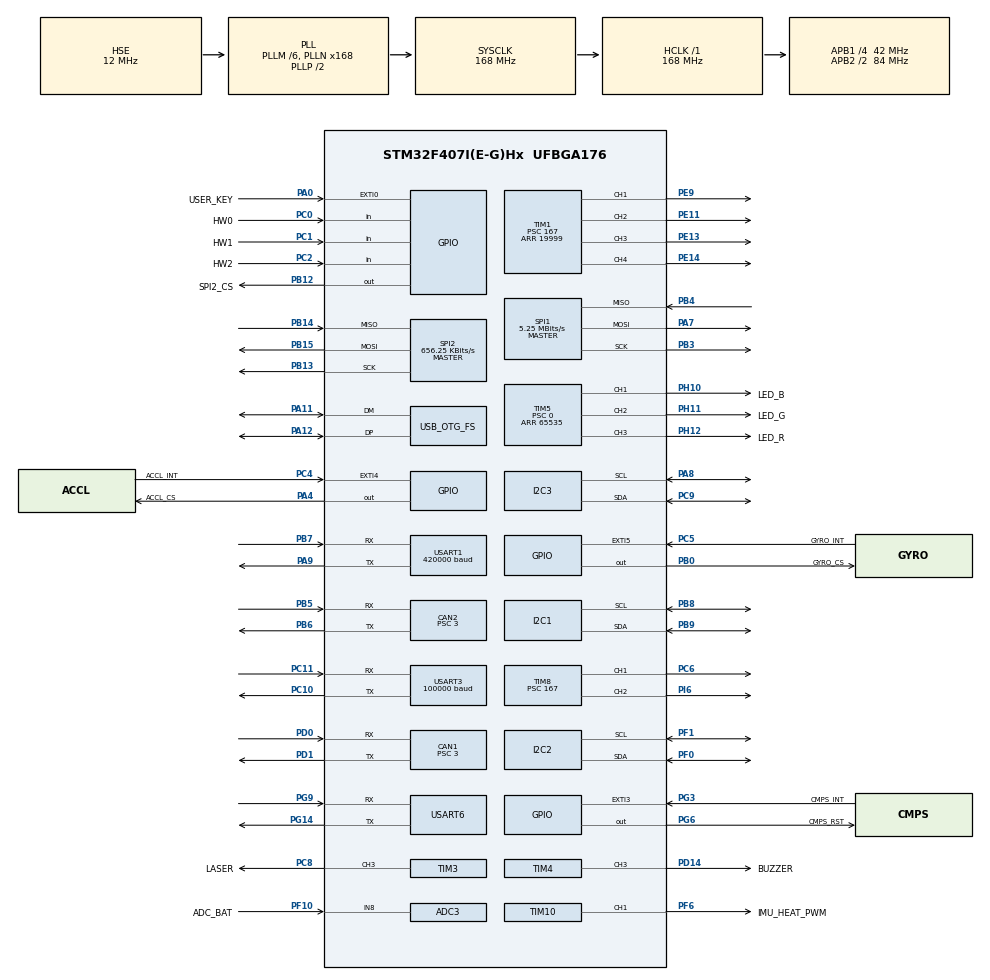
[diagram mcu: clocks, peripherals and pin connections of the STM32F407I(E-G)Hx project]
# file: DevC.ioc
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ADC1.Channel-0\#ChannelRegularConversion=ADC_CHANNEL_TEMPSENSOR
ADC1.ClockPrescaler=ADC_CLOCK_SYNC_PCLK_DIV6
ADC1.NbrOfConversionFlag=1
ADC1.Rank-0\#ChannelRegularConversion=1
ADC1.SamplingTime-0\#ChannelRegularConversion=ADC_SAMPLETIME_3CYCLES
ADC1.master=1
ADC3.Channel-0\#ChannelRegularConversion=ADC_CHANNEL_8
ADC3.ClockPrescaler=ADC_CLOCK_SYNC_PCLK_DIV6
ADC3.NbrOfConversionFlag=1
ADC3.Rank-0\#ChannelRegularConversion=1
ADC3.SamplingTime-0\#ChannelRegularConversion=ADC_SAMPLETIME_3CYCLES
CAN1.ABOM=DISABLE
CAN1.BS1=CAN_BS1_6TQ
CAN1.BS2=CAN_BS2_7TQ
CAN1.CalculateBaudRate=1000000
CAN1.CalculateTimeBit=1000
CAN1.CalculateTimeQuantum=71.42857142857143
CAN1.Prescaler=3
CAN1.TXFP=ENABLE
CAN2.BS1=CAN_BS1_6TQ
CAN2.BS2=CAN_BS2_7TQ
CAN2.CalculateBaudRate=1000000
CAN2.CalculateTimeBit=1000
CAN2.CalculateTimeQuantum=71.42857142857143
CAN2.Prescaler=3
CAN2.TXFP=ENABLE
Dma.I2C2_TX.2.Direction=DMA_MEMORY_TO_PERIPH
Dma.I2C2_TX.2.FIFOMode=DMA_FIFOMODE_DISABLE
Dma.I2C2_TX.2.Instance=DMA1_Stream7
Dma.I2C2_TX.2.MemDataAlignment=DMA_MDATAALIGN_BYTE
Dma.I2C2_TX.2.MemInc=DMA_MINC_ENABLE
Dma.I2C2_TX.2.Mode=DMA_NORMAL
Dma.I2C2_TX.2.PeriphDataAlignment=DMA_PDATAALIGN_BYTE
Dma.I2C2_TX.2.PeriphInc=DMA_PINC_DISABLE
Dma.I2C2_TX.2.Priority=DMA_PRIORITY_HIGH
Dma.I2C3_RX.7.Direction=DMA_PERIPH_TO_MEMORY
Dma.I2C3_RX.7.FIFOMode=DMA_FIFOMODE_DISABLE
Dma.I2C3_RX.7.Instance=DMA1_Stream2
Dma.I2C3_RX.7.MemDataAlignment=DMA_MDATAALIGN_BYTE
Dma.I2C3_RX.7.MemInc=DMA_MINC_ENABLE
Dma.I2C3_RX.7.Mode=DMA_NORMAL
Dma.I2C3_RX.7.PeriphDataAlignment=DMA_PDATAALIGN_BYTE
Dma.I2C3_RX.7.PeriphInc=DMA_PINC_DISABLE
Dma.I2C3_RX.7.Priority=DMA_PRIORITY_LOW
Dma.Request0=SPI1_RX
Dma.Request1=SPI1_TX
Dma.Request2=I2C2_TX
Dma.Request3=USART3_RX
Dma.Request4=USART6_RX
Dma.Request5=USART6_TX
Dma.Request6=USART1_TX
Dma.Request7=I2C3_RX
Dma.Request8=USART1_RX
Dma.SPI1_RX.0.Direction=DMA_PERIPH_TO_MEMORY
Dma.SPI1_RX.0.FIFOMode=DMA_FIFOMODE_DISABLE
Dma.SPI1_RX.0.Instance=DMA2_Stream2
Dma.SPI1_RX.0.MemDataAlignment=DMA_MDATAALIGN_BYTE
Dma.SPI1_RX.0.MemInc=DMA_MINC_ENABLE
Dma.SPI1_RX.0.Mode=DMA_NORMAL
Dma.SPI1_RX.0.PeriphDataAlignment=DMA_PDATAALIGN_BYTE
Dma.SPI1_RX.0.PeriphInc=DMA_PINC_DISABLE
Dma.SPI1_RX.0.Priority=DMA_PRIORITY_VERY_HIGH
Dma.SPI1_TX.1.Direction=DMA_MEMORY_TO_PERIPH
Dma.SPI1_TX.1.FIFOMode=DMA_FIFOMODE_DISABLE
Dma.SPI1_TX.1.Instance=DMA2_Stream3
Dma.SPI1_TX.1.MemDataAlignment=DMA_MDATAALIGN_BYTE
Dma.SPI1_TX.1.MemInc=DMA_MINC_ENABLE
Dma.SPI1_TX.1.Mode=DMA_NORMAL
Dma.SPI1_TX.1.PeriphDataAlignment=DMA_PDATAALIGN_BYTE
Dma.SPI1_TX.1.PeriphInc=DMA_PINC_DISABLE
Dma.SPI1_TX.1.Priority=DMA_PRIORITY_HIGH
Dma.USART1_RX.8.Direction=DMA_PERIPH_TO_MEMORY
Dma.USART1_RX.8.FIFOMode=DMA_FIFOMODE_DISABLE
Dma.USART1_RX.8.Instance=DMA2_Stream5
Dma.USART1_RX.8.MemDataAlignment=DMA_MDATAALIGN_BYTE
Dma.USART1_RX.8.MemInc=DMA_MINC_ENABLE
Dma.USART1_RX.8.Mode=DMA_NORMAL
Dma.USART1_RX.8.PeriphDataAlignment=DMA_PDATAALIGN_BYTE
Dma.USART1_RX.8.PeriphInc=DMA_PINC_DISABLE
Dma.USART1_RX.8.Priority=DMA_PRIORITY_MEDIUM
Dma.USART1_TX.6.Direction=DMA_MEMORY_TO_PERIPH
Dma.USART1_TX.6.FIFOMode=DMA_FIFOMODE_DISABLE
Dma.USART1_TX.6.Instance=DMA2_Stream7
Dma.USART1_TX.6.MemDataAlignment=DMA_MDATAALIGN_BYTE
Dma.USART1_TX.6.MemInc=DMA_MINC_ENABLE
Dma.USART1_TX.6.Mode=DMA_NORMAL
Dma.USART1_TX.6.PeriphDataAlignment=DMA_PDATAALIGN_BYTE
Dma.USART1_TX.6.PeriphInc=DMA_PINC_DISABLE
Dma.USART1_TX.6.Priority=DMA_PRIORITY_MEDIUM
Dma.USART3_RX.3.Direction=DMA_PERIPH_TO_MEMORY
Dma.USART3_RX.3.FIFOMode=DMA_FIFOMODE_DISABLE
Dma.USART3_RX.3.Instance=DMA1_Stream1
Dma.USART3_RX.3.MemDataAlignment=DMA_MDATAALIGN_BYTE
Dma.USART3_RX.3.MemInc=DMA_MINC_ENABLE
Dma.USART3_RX.3.Mode=DMA_NORMAL
Dma.USART3_RX.3.PeriphDataAlignment=DMA_PDATAALIGN_BYTE
Dma.USART3_RX.3.PeriphInc=DMA_PINC_DISABLE
Dma.USART3_RX.3.Priority=DMA_PRIORITY_HIGH
Dma.USART6_RX.4.Direction=DMA_PERIPH_TO_MEMORY
Dma.USART6_RX.4.FIFOMode=DMA_FIFOMODE_DISABLE
Dma.USART6_RX.4.Instance=DMA2_Stream1
Dma.USART6_RX.4.MemDataAlignment=DMA_MDATAALIGN_BYTE
Dma.USART6_RX.4.MemInc=DMA_MINC_ENABLE
Dma.USART6_RX.4.Mode=DMA_NORMAL
Dma.USART6_RX.4.PeriphDataAlignment=DMA_PDATAALIGN_BYTE
Dma.USART6_RX.4.PeriphInc=DMA_PINC_DISABLE
Dma.USART6_RX.4.Priority=DMA_PRIORITY_MEDIUM
Dma.USART6_TX.5.Direction=DMA_MEMORY_TO_PERIPH
Dma.USART6_TX.5.FIFOMode=DMA_FIFOMODE_DISABLE
Dma.USART6_TX.5.Instance=DMA2_Stream6
Dma.USART6_TX.5.MemDataAlignment=DMA_MDATAALIGN_BYTE
Dma.USART6_TX.5.MemInc=DMA_MINC_ENABLE
Dma.USART6_TX.5.Mode=DMA_NORMAL
Dma.USART6_TX.5.PeriphDataAlignment=DMA_PDATAALIGN_BYTE
Dma.USART6_TX.5.PeriphInc=DMA_PINC_DISABLE
Dma.USART6_TX.5.Priority=DMA_PRIORITY_MEDIUM
FREERTOS.INCLUDE_pcTaskGetTaskName=1
FREERTOS.INCLUDE_uxTaskGetStackHighWaterMark2=1
FREERTOS.INCLUDE_vTaskCleanUpResources=1
FREERTOS.INCLUDE_xEventGroupSetBitFromISR=1
FREERTOS.INCLUDE_xSemaphoreGetMutexHolder=1
FREERTOS.INCLUDE_xTaskAbortDelay=1
FREERTOS.INCLUDE_xTaskGetCurrentTaskHandle=1
FREERTOS.INCLUDE_xTaskGetHandle=1
FREERTOS.Tasks01=defaultTask,24,128,StartDefaultTask,Default,NULL,Dynamic,NULL,NULL
FREERTOS.configCHECK_FOR_STACK_OVERFLOW=2
FREERTOS.configENABLE_BACKWARD_COMPATIBILITY=0
FREERTOS.configENABLE_FPU=1
FREERTOS.configGENERATE_RUN_TIME_STATS=1
FREERTOS.configRECORD_STACK_HIGH_ADDRESS=1
FREERTOS.configTOTAL_HEAP_SIZE=0x6000
FREERTOS.configUSE_STATS_FORMATTING_FUNCTIONS=1
I2C1.I2C_Mode=I2C_Fast
I2C2.I2C_Mode=I2C_Fast
I2C3.I2C_Mode=I2C_Fast
Mcu.Family=STM32F4
Mcu.Name=STM32F407I(E-G)Hx
Mcu.Package=UFBGA176
NVIC.CAN1_RX0_IRQn=true\:5\:0\:true\:false\:true\:true\:true\:true\:true
NVIC.CAN1_RX1_IRQn=true\:5\:0\:false\:false\:true\:true\:true\:true\:true
NVIC.CAN2_RX0_IRQn=true\:5\:0\:true\:false\:true\:true\:true\:true\:true
NVIC.CAN2_RX1_IRQn=true\:5\:0\:false\:false\:true\:true\:true\:true\:true
NVIC.DMA1_Stream1_IRQn=true\:5\:0\:true\:false\:true\:true\:false\:true\:true
NVIC.DMA1_Stream2_IRQn=true\:5\:0\:false\:false\:true\:true\:false\:true\:true
NVIC.DMA1_Stream7_IRQn=true\:5\:0\:true\:false\:true\:true\:false\:true\:true
NVIC.DMA2_Stream1_IRQn=true\:5\:0\:true\:false\:true\:true\:false\:true\:true
NVIC.DMA2_Stream2_IRQn=true\:5\:0\:true\:false\:true\:true\:false\:true\:true
NVIC.DMA2_Stream3_IRQn=true\:5\:0\:true\:false\:true\:true\:false\:true\:true
NVIC.DMA2_Stream5_IRQn=true\:5\:0\:false\:false\:true\:true\:false\:true\:true
NVIC.DMA2_Stream6_IRQn=true\:5\:0\:true\:false\:true\:true\:false\:true\:true
NVIC.DMA2_Stream7_IRQn=true\:5\:0\:true\:false\:true\:true\:false\:true\:true
NVIC.EXTI0_IRQn=true\:5\:0\:true\:false\:true\:true\:true\:true\:true
NVIC.EXTI3_IRQn=true\:5\:0\:true\:false\:true\:true\:true\:true\:true
NVIC.EXTI4_IRQn=true\:5\:0\:true\:false\:true\:true\:true\:true\:true
NVIC.EXTI9_5_IRQn=true\:5\:0\:true\:false\:true\:true\:true\:true\:true
NVIC.OTG_FS_IRQn=true\:5\:0\:false\:false\:true\:true\:false\:true\:true
NVIC.PriorityGroup=NVIC_PRIORITYGROUP_4
NVIC.TIM1_BRK_TIM9_IRQn=true\:5\:0\:false\:false\:true\:false\:false\:true\:true
NVIC.TIM7_IRQn=true\:5\:0\:false\:false\:true\:true\:true\:true\:true
NVIC.USART1_IRQn=true\:5\:0\:false\:false\:true\:true\:true\:true\:true
NVIC.USART6_IRQn=true\:5\:0\:false\:false\:true\:true\:true\:true\:true
PA0-WKUP.GPIO_Label=USER_KEY
PA0-WKUP.GPIO_ModeDefaultEXTI=GPIO_MODE_IT_FALLING
PA0-WKUP.GPIO_PuPd=GPIO_PULLUP
PA0-WKUP.Signal=GPXTI0
PA11.Mode=Device_Only
PA11.Signal=USB_OTG_FS_DM
PA12.Mode=Device_Only
PA12.Signal=USB_OTG_FS_DP
PA13.Mode=Serial_Wire
PA13.Signal=SYS_JTMS-SWDIO
PA14.Mode=Serial_Wire
PA14.Signal=SYS_JTCK-SWCLK
PA4.GPIO_Label=ACCL_CS
PA4.GPIO_PuPd=GPIO_PULLUP
PA4.GPIO_Speed=GPIO_SPEED_FREQ_MEDIUM
PA4.PinState=GPIO_PIN_SET
PA4.Signal=GPIO_Output
PA7.GPIO_PuPd=GPIO_PULLUP
PA7.Mode=Full_Duplex_Master
PA7.Signal=SPI1_MOSI
PA8.Mode=I2C
PA8.Signal=I2C3_SCL
PA9.Mode=Asynchronous
PA9.Signal=USART1_TX
PB0.GPIO_Label=GYRO_CS
PB0.GPIO_PuPd=GPIO_PULLUP
PB0.GPIO_Speed=GPIO_SPEED_FREQ_MEDIUM
PB0.PinState=GPIO_PIN_SET
PB0.Signal=GPIO_Output
PB12.GPIO_Label=SPI2_CS
PB12.GPIO_PuPd=GPIO_PULLUP
PB12.GPIO_Speed=GPIO_SPEED_FREQ_MEDIUM
PB12.PinState=GPIO_PIN_SET
PB12.Signal=GPIO_Output
PB13.GPIO_PuPd=GPIO_PULLUP
PB13.Mode=Full_Duplex_Master
PB13.Signal=SPI2_SCK
PB14.GPIO_PuPd=GPIO_PULLUP
PB14.Mode=Full_Duplex_Master
PB14.Signal=SPI2_MISO
PB15.GPIO_PuPd=GPIO_PULLUP
PB15.Mode=Full_Duplex_Master
PB15.Signal=SPI2_MOSI
PB3.GPIO_PuPd=GPIO_PULLUP
PB3.Mode=Full_Duplex_Master
PB3.Signal=SPI1_SCK
PB4.GPIO_PuPd=GPIO_PULLUP
PB4.Mode=Full_Duplex_Master
PB4.Signal=SPI1_MISO
PB5.Mode=CAN_Activate
PB5.Signal=CAN2_RX
PB6.Mode=CAN_Activate
PB6.Signal=CAN2_TX
PB7.Mode=Asynchronous
PB7.Signal=USART1_RX
PB8.Mode=I2C
PB8.Signal=I2C1_SCL
PB9.Mode=I2C
PB9.Signal=I2C1_SDA
PC0.GPIO_Label=HW0
PC0.Signal=GPIO_Input
PC1.GPIO_Label=HW1
PC1.Signal=GPIO_Input
PC10.Mode=Asynchronous
PC10.Signal=USART3_TX
PC11.Mode=Asynchronous
PC11.Signal=USART3_RX
PC2.GPIO_Label=HW2
PC2.Signal=GPIO_Input
PC4.GPIO_Label=ACCL_INT
PC4.GPIO_ModeDefaultEXTI=GPIO_MODE_IT_FALLING
PC4.GPIO_PuPd=GPIO_PULLUP
PC4.Signal=GPXTI4
PC5.GPIO_Label=GYRO_INT
PC5.GPIO_ModeDefaultEXTI=GPIO_MODE_IT_FALLING
PC5.GPIO_PuPd=GPIO_PULLUP
PC5.Signal=GPXTI5
PC6.GPIO_PuPd=GPIO_PULLUP
PC6.GPIO_Speed=GPIO_SPEED_FREQ_HIGH
PC6.Signal=S_TIM8_CH1
PC8.GPIO_Label=LASER
PC8.GPIO_PuPd=GPIO_PULLUP
PC8.GPIO_Speed=GPIO_SPEED_FREQ_HIGH
PC8.Signal=S_TIM3_CH3
PC9.Mode=I2C
PC9.Signal=I2C3_SDA
PD0.Mode=CAN_Activate
PD0.Signal=CAN1_RX
PD1.Mode=CAN_Activate
PD1.Signal=CAN1_TX
PD14.GPIO_Label=BUZZER
PD14.GPIO_PuPd=GPIO_PULLUP
PD14.GPIO_Speed=GPIO_SPEED_FREQ_VERY_HIGH
PD14.Signal=S_TIM4_CH3
PE11.GPIO_PuPd=GPIO_PULLUP
PE11.GPIO_Speed=GPIO_SPEED_FREQ_HIGH
PE11.Signal=S_TIM1_CH2
PE13.GPIO_PuPd=GPIO_PULLUP
PE13.GPIO_Speed=GPIO_SPEED_FREQ_HIGH
PE13.Signal=S_TIM1_CH3
PE14.GPIO_PuPd=GPIO_PULLUP
PE14.GPIO_Speed=GPIO_SPEED_FREQ_HIGH
PE14.Signal=S_TIM1_CH4
PE9.GPIO_PuPd=GPIO_PULLUP
PE9.GPIO_Speed=GPIO_SPEED_FREQ_HIGH
PE9.Signal=S_TIM1_CH1
PF0.Mode=I2C
PF0.Signal=I2C2_SDA
PF1.Mode=I2C
PF1.Signal=I2C2_SCL
PF10.GPIO_Label=ADC_BAT
PF10.Mode=IN8
PF10.Signal=ADC3_IN8
PF6.GPIO_Label=IMU_HEAT_PWM
PF6.GPIO_PuPd=GPIO_PULLDOWN
PF6.GPIO_Speed=GPIO_SPEED_FREQ_HIGH
PF6.Signal=S_TIM10_CH1
PG14.Mode=Asynchronous
PG14.Signal=USART6_TX
PG3.GPIO_Label=CMPS_INT
PG3.GPIO_ModeDefaultEXTI=GPIO_MODE_IT_FALLING
PG3.GPIO_PuPd=GPIO_PULLUP
PG3.Signal=GPXTI3
PG6.GPIO_Label=CMPS_RST
PG6.GPIO_PuPd=GPIO_PULLUP
PG6.GPIO_Speed=GPIO_SPEED_FREQ_MEDIUM
PG6.PinState=GPIO_PIN_RESET
PG6.Signal=GPIO_Output
PG9.Mode=Asynchronous
PG9.Signal=USART6_RX
PH0-OSC_IN.Mode=HSE-External-Oscillator
PH0-OSC_IN.Signal=RCC_OSC_IN
PH1-OSC_OUT.Mode=HSE-External-Oscillator
PH1-OSC_OUT.Signal=RCC_OSC_OUT
PH10.GPIO_Label=LED_B
PH10.GPIO_PuPd=GPIO_PULLUP
PH10.GPIO_Speed=GPIO_SPEED_FREQ_HIGH
PH10.Signal=S_TIM5_CH1
PH11.GPIO_Label=LED_G
PH11.GPIO_PuPd=GPIO_PULLUP
PH11.GPIO_Speed=GPIO_SPEED_FREQ_HIGH
PH11.Signal=S_TIM5_CH2
PH12.GPIO_Label=LED_R
PH12.GPIO_PuPd=GPIO_PULLUP
PH12.GPIO_Speed=GPIO_SPEED_FREQ_HIGH
PH12.Signal=S_TIM5_CH3
PI6.GPIO_PuPd=GPIO_PULLUP
PI6.GPIO_Speed=GPIO_SPEED_FREQ_HIGH
PI6.Signal=S_TIM8_CH2
ProjectManager.HeapSize=0x1000
ProjectManager.StackSize=0x1000
ProjectManager.TargetToolchain=CMake
RCC.48MHZClocksFreq_Value=48000000
RCC.AHBFreq_Value=168000000
RCC.APB1CLKDivider=RCC_HCLK_DIV4
RCC.APB1Freq_Value=42000000
RCC.APB1TimFreq_Value=84000000
RCC.APB2CLKDivider=RCC_HCLK_DIV2
RCC.APB2Freq_Value=84000000
RCC.APB2TimFreq_Value=168000000
RCC.CortexFreq_Value=168000000
RCC.HCLKFreq_Value=168000000
RCC.HSE_VALUE=12000000
RCC.HSI_VALUE=16000000
RCC.LSE_VALUE=32768
RCC.PLLM=6
RCC.PLLN=168
RCC.PLLQ=7
RCC.RCC_RTC_Clock_Source=RCC_RTCCLKSOURCE_LSI
RCC.RCC_RTC_Clock_SourceVirtual=RCC_RTCCLKSOURCE_HSE_DIV30
RCC.RCC_RTC_Clock_Source_FROM_HSE=RCC_RTCCLKSOURCE_HSE_DIV30
RCC.SYSCLKFreq_VALUE=168000000
RCC.SYSCLKSource=RCC_SYSCLKSOURCE_PLLCLK
RCC.VCOOutputFreq_Value=336000000
SH.S_TIM10_CH1.0=TIM10_CH1,PWM Generation1 CH1
SH.S_TIM1_CH1.0=TIM1_CH1,PWM Generation1 CH1
SH.S_TIM1_CH2.0=TIM1_CH2,PWM Generation2 CH2
SH.S_TIM1_CH3.0=TIM1_CH3,PWM Generation3 CH3
SH.S_TIM1_CH4.0=TIM1_CH4,PWM Generation4 CH4
SH.S_TIM3_CH3.0=TIM3_CH3,PWM Generation3 CH3
SH.S_TIM4_CH3.0=TIM4_CH3,PWM Generation3 CH3
SH.S_TIM5_CH1.0=TIM5_CH1,PWM Generation1 CH1
SH.S_TIM5_CH2.0=TIM5_CH2,PWM Generation2 CH2
SH.S_TIM5_CH3.0=TIM5_CH3,PWM Generation3 CH3
SH.S_TIM8_CH1.0=TIM8_CH1,PWM Generation1 CH1
SH.S_TIM8_CH2.0=TIM8_CH2,PWM Generation2 CH2
SPI1.BaudRatePrescaler=SPI_BAUDRATEPRESCALER_16
SPI1.CLKPhase=SPI_PHASE_2EDGE
SPI1.CLKPolarity=SPI_POLARITY_HIGH
SPI1.CalculateBaudRate=5.25 MBits/s
SPI1.Direction=SPI_DIRECTION_2LINES
SPI1.Mode=SPI_MODE_MASTER
SPI1.VirtualType=VM_MASTER
SPI2.BaudRatePrescaler=SPI_BAUDRATEPRESCALER_64
SPI2.CLKPhase=SPI_PHASE_1EDGE
SPI2.CLKPolarity=SPI_POLARITY_LOW
SPI2.CalculateBaudRate=656.25 KBits/s
SPI2.Direction=SPI_DIRECTION_2LINES
SPI2.Mode=SPI_MODE_MASTER
SPI2.VirtualType=VM_MASTER
TIM1.Channel-PWM\ Generation1\ CH1=TIM_CHANNEL_1
TIM1.Channel-PWM\ Generation2\ CH2=TIM_CHANNEL_2
TIM1.Channel-PWM\ Generation3\ CH3=TIM_CHANNEL_3
TIM1.Channel-PWM\ Generation4\ CH4=TIM_CHANNEL_4
TIM1.Period=19999
TIM1.Prescaler=167
TIM1.Pulse-PWM\ Generation1\ CH1=0
TIM1.Pulse-PWM\ Generation2\ CH2=0
TIM1.Pulse-PWM\ Generation3\ CH3=0
TIM1.Pulse-PWM\ Generation4\ CH4=1000
TIM10.Channel=TIM_CHANNEL_1
TIM10.Period=4999
TIM3.Channel-PWM\ Generation3\ CH3=TIM_CHANNEL_3
TIM3.Period=65535
TIM4.Channel-PWM\ Generation3\ CH3=TIM_CHANNEL_3
TIM4.Period=65535
TIM4.Prescaler=167
TIM5.Channel-PWM\ Generation1\ CH1=TIM_CHANNEL_1
TIM5.Channel-PWM\ Generation2\ CH2=TIM_CHANNEL_2
TIM5.Channel-PWM\ Generation3\ CH3=TIM_CHANNEL_3
TIM5.Period=65535
TIM5.Prescaler=0
TIM7.Period=9
TIM7.Prescaler=83
TIM8.Channel-PWM\ Generation1\ CH1=TIM_CHANNEL_1
TIM8.Channel-PWM\ Generation2\ CH2=TIM_CHANNEL_2
TIM8.Period=19999
TIM8.Prescaler=167
TIM8.Pulse-PWM\ Generation1\ CH1=1000
TIM8.Pulse-PWM\ Generation2\ CH2=1000
USART1.BaudRate=420000
USART1.VirtualMode=VM_ASYNC
USART3.BaudRate=100000
USART3.Mode=MODE_RX
USART3.Parity=PARITY_EVEN
USART3.VirtualMode=VM_ASYNC
USART6.VirtualMode=VM_ASYNC
USB_DEVICE.APP_TX_DATA_SIZE-CDC_FS=8
USB_DEVICE.CLASS_NAME_FS=CDC
USB_DEVICE.MANUFACTURER_STRING-CDC_FS=QDU RM
USB_DEVICE.PID_CDC_FS=8888
USB_DEVICE.PRODUCT_STRING_CDC_FS=QDU RM MCU CLI
USB_DEVICE.VID-CDC_FS=0xFFFC
USB_DEVICE.VirtualMode-CDC_FS=Cdc
USB_DEVICE.VirtualModeFS=Cdc_FS
USB_OTG_FS.VirtualMode=Device_Only
VP_ADC1_TempSens_Input.Mode=IN-TempSens
VP_ADC1_Vref_Input.Mode=IN-Vrefint
VP_CRC_VS_CRC.Mode=CRC_Activate
VP_FREERTOS_VS_CMSIS_V2.Mode=CMSIS_V2
VP_RNG_VS_RNG.Mode=RNG_Activate
VP_TIM10_VS_ClockSourceINT.Mode=Enable_Timer
VP_TIM1_VS_ClockSourceINT.Mode=Internal
VP_TIM3_VS_ClockSourceINT.Mode=Internal
VP_TIM4_VS_ClockSourceINT.Mode=Internal
VP_TIM5_VS_ClockSourceINT.Mode=Internal
VP_TIM7_VS_ClockSourceINT.Mode=Enable_Timer
VP_TIM8_VS_ClockSourceINT.Mode=Internal
VP_USB_DEVICE_VS_USB_DEVICE_CDC_FS.Mode=CDC_FS
board=custom

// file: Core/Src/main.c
/* USER CODE BEGIN Header */
/**
  ******************************************************************************
  * @file           : main.c
  * @brief          : Main program body
  ******************************************************************************
  * @attention
  *
  * <h2><center>&copy; Copyright (c) 2020 STMicroelectronics.
  * All rights reserved.</center></h2>
  *
  * This software component is licensed by ST under Ultimate Liberty license
  * SLA0044, the "License"; You may not use this file except in compliance with
  * the License. You may obtain a copy of the License at:
  *                             www.st.com/SLA0044
  *
  ******************************************************************************
  */
/* USER CODE END Header */
#include "main.h"
#include "cmsis_os.h"
#include "adc.h"
#include "can.h"
#include "crc.h"
#include "dma.h"
#include "i2c.h"
#include "rng.h"
#include "spi.h"
#include "tim.h"
#include "usart.h"
#include "usb_device.h"
#include "gpio.h"

void SystemClock_Config(void);
void MX_FREERTOS_Init(void);

int main(void)
{

  /* MCU Configuration--------------------------------------------------------*/

  /* Reset of all peripherals, Initializes the Flash interface and the Systick. */
  HAL_Init();

  /* Configure the system clock */
  SystemClock_Config();

  /* Initialize all configured peripherals */
  MX_GPIO_Init();
  MX_DMA_Init();
  MX_ADC1_Init();
  MX_ADC3_Init();
  MX_CAN1_Init();
  MX_CAN2_Init();
  MX_I2C1_Init();
  MX_SPI1_Init();
  MX_TIM4_Init();
  MX_TIM5_Init();
  MX_USART3_UART_Init();
  MX_TIM8_Init();
  MX_CRC_Init();
  MX_RNG_Init();
  MX_I2C2_Init();
  MX_I2C3_Init();
  MX_SPI2_Init();
  MX_TIM1_Init();
  MX_TIM3_Init();
  MX_TIM10_Init();
  MX_USART1_UART_Init();
  MX_USART6_UART_Init();
  MX_TIM7_Init();

  /* Init scheduler */
  osKernelInitialize();  /* Call init function for freertos objects (in freertos.c) */
  MX_FREERTOS_Init();
  /* Start scheduler */
  osKernelStart();

  /* We should never get here as control is now taken by the scheduler */
  /* Infinite loop */
  while (1)
  {

  }
}

void SystemClock_Config(void)
{
  RCC_OscInitTypeDef RCC_OscInitStruct = {0};
  RCC_ClkInitTypeDef RCC_ClkInitStruct = {0};

  /** Configure the main internal regulator output voltage
  */
  __HAL_RCC_PWR_CLK_ENABLE();
  __HAL_PWR_VOLTAGESCALING_CONFIG(PWR_REGULATOR_VOLTAGE_SCALE1);
  /** Initializes the RCC Oscillators according to the specified parameters
  * in the RCC_OscInitTypeDef structure.
  */
  RCC_OscInitStruct.OscillatorType = RCC_OSCILLATORTYPE_HSE;
  RCC_OscInitStruct.HSEState = RCC_HSE_ON;
  RCC_OscInitStruct.PLL.PLLState = RCC_PLL_ON;
  RCC_OscInitStruct.PLL.PLLSource = RCC_PLLSOURCE_HSE;
  RCC_OscInitStruct.PLL.PLLM = 6;
  RCC_OscInitStruct.PLL.PLLN = 168;
  RCC_OscInitStruct.PLL.PLLP = RCC_PLLP_DIV2;
  RCC_OscInitStruct.PLL.PLLQ = 7;
  if (HAL_RCC_OscConfig(&RCC_OscInitStruct) != HAL_OK)
  {
    Error_Handler();
  }
  /** Initializes the CPU, AHB and APB buses clocks
  */
  RCC_ClkInitStruct.ClockType = RCC_CLOCKTYPE_HCLK|RCC_CLOCKTYPE_SYSCLK
                              |RCC_CLOCKTYPE_PCLK1|RCC_CLOCKTYPE_PCLK2;
  RCC_ClkInitStruct.SYSCLKSource = RCC_SYSCLKSOURCE_PLLCLK;
  RCC_ClkInitStruct.AHBCLKDivider = RCC_SYSCLK_DIV1;
  RCC_ClkInitStruct.APB1CLKDivider = RCC_HCLK_DIV4;
  RCC_ClkInitStruct.APB2CLKDivider = RCC_HCLK_DIV2;

  if (HAL_RCC_ClockConfig(&RCC_ClkInitStruct, FLASH_LATENCY_5) != HAL_OK)
  {
    Error_Handler();
  }
}

/* USER CODE BEGIN 4 */
/* High freq timer ticks for runtime stats */
extern unsigned long high_freq_timer_ticks;
/* USER CODE END 4 */

void Error_Handler(void)
{
  /* USER CODE BEGIN Error_Handler_Debug */
  /* User can add his own implementation to report the HAL error return state */
	while(1) {
    __NOP();
	}
  /* USER CODE END Error_Handler_Debug */
}

#ifdef  USE_FULL_ASSERT
/**
  * @brief  Reports the name of the source file and the source line number
  *         where the assert_param error has occurred.
  * @param  file: pointer to the source file name
  * @param  line: assert_param error line source number
  * @retval None
  */
void assert_failed(uint8_t *file, uint32_t line)
{
  /* USER CODE BEGIN 6 */
  /* User can add his own implementation to report the file name and line number,
     tex: printf("Wrong parameters value: file %s on line %d\r\n", file, line) */

	while(1) {
    __NOP();
	}
  /* USER CODE END 6 */
}
#endif /* USE_FULL_ASSERT */

/************************ (C) COPYRIGHT STMicroelectronics *****END OF FILE****/

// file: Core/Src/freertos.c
/* USER CODE BEGIN Header */
/**
  ******************************************************************************
  * File Name          : freertos.c
  * Description        : Code for freertos applications
  ******************************************************************************
  * @attention
  *
  * <h2><center>&copy; Copyright (c) 2020 STMicroelectronics.
  * All rights reserved.</center></h2>
  *
  * This software component is licensed by ST under Ultimate Liberty license
  * SLA0044, the "License"; You may not use this file except in compliance with
  * the License. You may obtain a copy of the License at:
  *                             www.st.com/SLA0044
  *
  ******************************************************************************
  */
/* USER CODE END Header */

#include "FreeRTOS.h"
#include "task.h"
#include "main.h"
#include "cmsis_os.h"

/* USER CODE BEGIN Includes */
#include "tim.h"

#include "task/user_task.h"
/* USER CODE END Includes */

/* USER CODE BEGIN Variables */

/* TIM7 are used to generater high freq tick for debug. */
volatile unsigned long high_freq_timer_ticks;

/* Inspect these in the debugger if the scheduler stops on stack overflow. */
volatile TaskHandle_t stack_overflow_task;
volatile char stack_overflow_task_name[configMAX_TASK_NAME_LEN];

/* USER CODE END Variables */
/* Definitions for defaultTask */
osThreadId_t defaultTaskHandle;
const osThreadAttr_t defaultTask_attributes = {
  .name = "defaultTask",
  .stack_size = 128 * 4,
  .priority = (osPriority_t) osPriorityNormal,
};

void StartDefaultTask(void *argument);

extern void MX_USB_DEVICE_Init(void);
void MX_FREERTOS_Init(void); /* (MISRA C 2004 rule 8.1) */

/* Hook prototypes */
void configureTimerForRunTimeStats(void);
unsigned long getRunTimeCounterValue(void);
void vApplicationStackOverflowHook(TaskHandle_t xTask, signed char *pcTaskName);

/* USER CODE BEGIN 1 */
/* Functions needed when configGENERATE_RUN_TIME_STATS is on */
/* Code inside this function should be simple and small. */
void configureTimerForRunTimeStats(void)
{
	high_freq_timer_ticks = 0;
	HAL_TIM_Base_Start_IT(&htim7);
}

/* High freq timer ticks for runtime stats */
unsigned long getRunTimeCounterValue(void)
{
	return high_freq_timer_ticks;
}

void HAL_TIM_PeriodElapsedCallback(TIM_HandleTypeDef *htim)
{
	if (htim->Instance == TIM7) {
		high_freq_timer_ticks++;
	}
}
/* USER CODE END 1 */

/* USER CODE BEGIN 4 */
void vApplicationStackOverflowHook(TaskHandle_t xTask, signed char *pcTaskName)
{
  /* Run time stack overflow checking is performed if
  configCHECK_FOR_STACK_OVERFLOW is defined to 1 or 2. This hook function is
  called if a stack overflow is detected. */
  stack_overflow_task = xTask;
  for (uint32_t i = 0; i < configMAX_TASK_NAME_LEN - 1; ++i) {
    char c = pcTaskName != NULL ? (char)pcTaskName[i] : '\0';
    stack_overflow_task_name[i] = c;
    if (c == '\0') {
      break;
    }
  }
  stack_overflow_task_name[configMAX_TASK_NAME_LEN - 1] = '\0';
  while (1) {
    __NOP();
  }
}
/* USER CODE END 4 */

void MX_FREERTOS_Init(void) {

  /* Create the thread(s) */
  /* creation of defaultTask */
  defaultTaskHandle = osThreadNew(StartDefaultTask, NULL, &defaultTask_attributes);

  /* USER CODE BEGIN RTOS_THREADS */
  /* add threads, Task_Init() 会创建底盘、发射、裁判系统、遥控器、AI、超级电容等十几个任务。*/
  osThreadNew(Task_Init, NULL, &attr_init);

  /* USER CODE END RTOS_THREADS */

}

void StartDefaultTask(void *argument)
{
  /* init code for USB_DEVICE */
  MX_USB_DEVICE_Init();
  /* USER CODE BEGIN StartDefaultTask */
	osThreadTerminate(osThreadGetId());

  /* USER CODE END StartDefaultTask */
}

/************************ (C) COPYRIGHT STMicroelectronics *****END OF FILE****/
